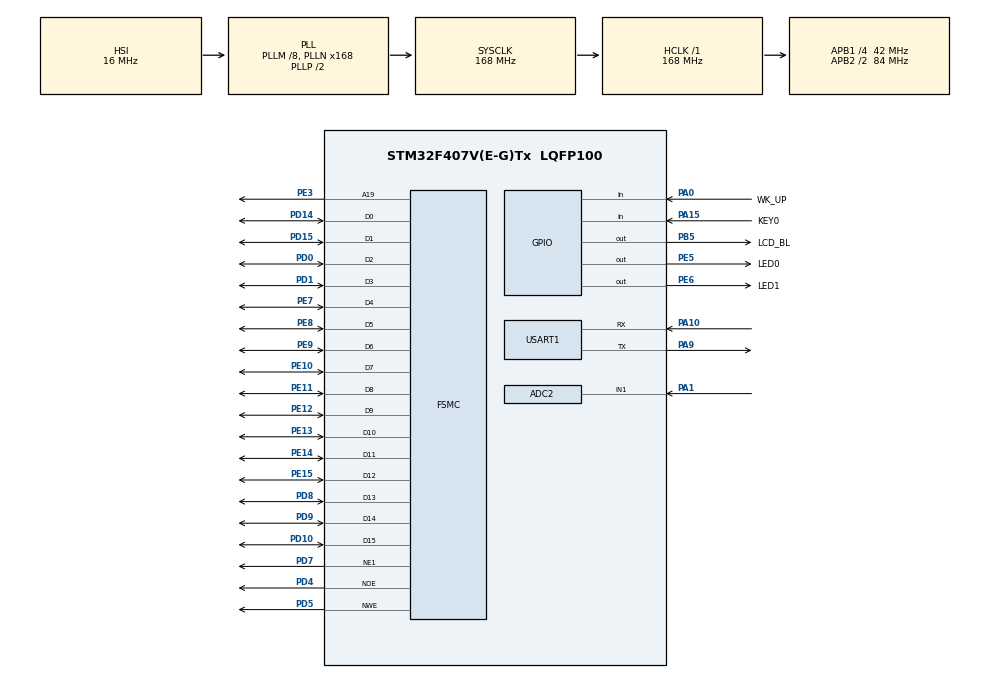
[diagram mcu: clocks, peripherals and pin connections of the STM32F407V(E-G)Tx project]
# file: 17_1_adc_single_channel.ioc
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ADC2.Channel-0\#ChannelRegularConversion=ADC_CHANNEL_1
ADC2.NbrOfConversionFlag=1
ADC2.Rank-0\#ChannelRegularConversion=1
ADC2.SamplingTime-0\#ChannelRegularConversion=ADC_SAMPLETIME_480CYCLES
FSMC.AddressSetupTime1=15
FSMC.BusTurnAroundDuration1=0
FSMC.DataSetupTime1=60
FSMC.ExtendedAddressSetupTime1=9
FSMC.ExtendedDataSetupTime1=9
FSMC.ExtendedMode1=FSMC_EXTENDED_MODE_ENABLE
Mcu.Family=STM32F4
Mcu.Name=STM32F407V(E-G)Tx
Mcu.Package=LQFP100
NVIC.PriorityGroup=NVIC_PRIORITYGROUP_2
NVIC.USART1_IRQn=true\:2\:2\:true\:false\:true\:true\:true\:true
PA0-WKUP.GPIO_Label=WK_UP
PA0-WKUP.GPIO_PuPd=GPIO_PULLDOWN
PA0-WKUP.Signal=GPIO_Input
PA1.Signal=ADCx_IN1
PA10.Mode=Asynchronous
PA10.Signal=USART1_RX
PA13.Mode=Serial_Wire
PA13.Signal=SYS_JTMS-SWDIO
PA14.Mode=Serial_Wire
PA14.Signal=SYS_JTCK-SWCLK
PA15.GPIO_Label=KEY0
PA15.GPIO_PuPd=GPIO_PULLDOWN
PA15.Signal=GPIO_Input
PA9.Mode=Asynchronous
PA9.Signal=USART1_TX
PB5.GPIO_Label=LCD_BL
PB5.GPIO_PuPd=GPIO_PULLUP
PB5.GPIO_Speed=GPIO_SPEED_FREQ_HIGH
PB5.PinState=GPIO_PIN_SET
PB5.Signal=GPIO_Output
PC14-OSC32_IN.Mode=LSE-External-Oscillator
PC14-OSC32_IN.Signal=RCC_OSC32_IN
PC15-OSC32_OUT.Mode=LSE-External-Oscillator
PC15-OSC32_OUT.Signal=RCC_OSC32_OUT
PD0.Mode=16b-d1
PD0.Signal=FSMC_D2
PD1.Mode=16b-d1
PD1.Signal=FSMC_D3
PD10.Mode=16b-d1
PD10.Signal=FSMC_D15
PD14.Mode=16b-d1
PD14.Signal=FSMC_D0
PD15.Mode=16b-d1
PD15.Signal=FSMC_D1
PD4.Mode=Lcd1
PD4.Signal=FSMC_NOE
PD5.Mode=Lcd1
PD5.Signal=FSMC_NWE
PD7.Mode=NorPsramChipSelect1_1
PD7.Signal=FSMC_NE1
PD8.Mode=16b-d1
PD8.Signal=FSMC_D13
PD9.Mode=16b-d1
PD9.Signal=FSMC_D14
PE10.Mode=16b-d1
PE10.Signal=FSMC_D7
PE11.Mode=16b-d1
PE11.Signal=FSMC_D8
PE12.Mode=16b-d1
PE12.Signal=FSMC_D9
PE13.Mode=16b-d1
PE13.Signal=FSMC_D10
PE14.Mode=16b-d1
PE14.Signal=FSMC_D11
PE15.Mode=16b-d1
PE15.Signal=FSMC_D12
PE3.Mode=A19_1
PE3.Signal=FSMC_A19
PE5.GPIO_Label=LED0
PE5.GPIO_PuPd=GPIO_PULLUP
PE5.GPIO_Speed=GPIO_SPEED_FREQ_HIGH
PE5.PinState=GPIO_PIN_SET
PE5.Signal=GPIO_Output
PE6.GPIO_Label=LED1
PE6.GPIO_PuPd=GPIO_PULLUP
PE6.GPIO_Speed=GPIO_SPEED_FREQ_HIGH
PE6.PinState=GPIO_PIN_SET
PE6.Signal=GPIO_Output
PE7.Mode=16b-d1
PE7.Signal=FSMC_D4
PE8.Mode=16b-d1
PE8.Signal=FSMC_D5
PE9.Mode=16b-d1
PE9.Signal=FSMC_D6
PH0-OSC_IN.Mode=HSE-External-Oscillator
PH0-OSC_IN.Signal=RCC_OSC_IN
PH1-OSC_OUT.Mode=HSE-External-Oscillator
PH1-OSC_OUT.Signal=RCC_OSC_OUT
ProjectManager.HeapSize=0x200
ProjectManager.StackSize=0x400
ProjectManager.TargetToolchain=STM32CubeIDE
RCC.48MHZClocksFreq_Value=84000000
RCC.AHBFreq_Value=168000000
RCC.APB1CLKDivider=RCC_HCLK_DIV4
RCC.APB1Freq_Value=42000000
RCC.APB1TimFreq_Value=84000000
RCC.APB2CLKDivider=RCC_HCLK_DIV2
RCC.APB2Freq_Value=84000000
RCC.APB2TimFreq_Value=168000000
RCC.CortexFreq_Value=168000000
RCC.HCLKFreq_Value=168000000
RCC.HSE_VALUE=25000000
RCC.HSI_VALUE=16000000
RCC.PLLM=8
RCC.PLLN=168
RCC.SYSCLKFreq_VALUE=168000000
RCC.SYSCLKSource=RCC_SYSCLKSOURCE_PLLCLK
RCC.VCOOutputFreq_Value=336000000
SH.ADCx_IN1.0=ADC2_IN1,IN1
USART1.VirtualMode=VM_ASYNC
board=custom

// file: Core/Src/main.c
/**
 ****************************************************************************************************
 * @file        main.c
 * @author      ALIENTEK
 * @brief       adc_single_channel code
 * @license     Copyright (C) 2012-2024, ALIENTEK
 ****************************************************************************************************
 * @attention
 *
 * platform     : ALIENTEK M100-STM32F407 board
 * website      : www.alientek.com
 * forum        : www.openedv.com/forum.php
 *
 * change logs  :
 * version      data         notes
 * V1.0         20240409     the first version
 *
 ****************************************************************************************************
 */

 /* USER CODE BEGIN Header */

/* USER CODE END Header */
#include "main.h"
#include "adc.h"
#include "usart.h"
#include "gpio.h"
#include "fsmc.h"

/* USER CODE BEGIN Includes */
#include "../../BSP/LED/led.h"
#include "../../BSP/KEY/key.h"
#include "../../BSP/LCD/lcd.h"
/* USER CODE END Includes */

/* USER CODE BEGIN PD */
/**
 * @brief   Displays information about the experiment
 * @param   None
 * @retval  None
 */
void stm32f407vg_show_mesg(void)
{
	/* The serial port outputs the experimental information */
	printf("\n");
	printf("********************************\r\n");
	printf("STM32F407\r\n");
	printf("ADC_Single_Channel Test\r\n");
	printf("ATOM@ALIENTEK\r\n");
	printf("********************************\r\n");
	printf("\r\n");
}
/* USER CODE END PD */

void SystemClock_Config(void);

int main(void)
{
  /* USER CODE BEGIN 1 */
  uint16_t adc_result;
  uint16_t voltage;
  /* USER CODE END 1 */

  /* MCU Configuration--------------------------------------------------------*/

  /* Reset of all peripherals, Initializes the Flash interface and the Systick. */
  HAL_Init();

  /* Configure the system clock */
  SystemClock_Config();

  /* Initialize all configured peripherals */
  MX_GPIO_Init();
  MX_USART1_UART_Init();
  MX_FSMC_Init();
  MX_ADC2_Init();
  /* USER CODE BEGIN 2 */
  lcd_init();                                         /* Initialize LCD */
  stm32f407vg_show_mesg();
  lcd_show_string(30, 50, 200, 16, 16, "STM32", RED);
  lcd_show_string(30, 70, 200, 16, 16, "ADC TEST", RED);
  lcd_show_string(30, 90, 200, 16, 16, "ATOM@ALIENTEK", RED);

  lcd_show_string(30, 110, 200, 16, 16, "ADC2_CH1_VAL:0", BLUE);
  lcd_show_string(30, 130, 200, 16, 16, "ADC2_CH1_VOL:0.000V", BLUE);
  /* USER CODE END 2 */

  /* Infinite loop */
  /* USER CODE BEGIN WHILE */
  while (1)
  {
	  adc_result = adc_get_result_average(10);     /* The ADC results are obtained by mean filtering */
	  lcd_show_xnum(134, 110, adc_result, 5, 16, 0, BLUE);

	  voltage = (adc_result * 3300) / 4095;                       /* Calculate the actual voltage value (1000 times larger) */
	  lcd_show_xnum(134, 130, voltage / 1000, 1, 16, 0, BLUE);
	  lcd_show_xnum(150, 130, voltage % 1000, 3, 16, 0x80, BLUE);

	  LED0_TOGGLE();             /* flashing LED0 indicates that the system is running */
	  HAL_Delay(1000);   		 /* delay 1000ms */
    /* USER CODE END WHILE */

  }
}

void SystemClock_Config(void)
{
  RCC_OscInitTypeDef RCC_OscInitStruct = {0};
  RCC_ClkInitTypeDef RCC_ClkInitStruct = {0};

  /** Configure the main internal regulator output voltage
  */
  __HAL_RCC_PWR_CLK_ENABLE();
  __HAL_PWR_VOLTAGESCALING_CONFIG(PWR_REGULATOR_VOLTAGE_SCALE1);

  /** Initializes the RCC Oscillators according to the specified parameters
  * in the RCC_OscInitTypeDef structure.
  */
  RCC_OscInitStruct.OscillatorType = RCC_OSCILLATORTYPE_HSI;
  RCC_OscInitStruct.HSIState = RCC_HSI_ON;
  RCC_OscInitStruct.HSICalibrationValue = RCC_HSICALIBRATION_DEFAULT;
  RCC_OscInitStruct.PLL.PLLState = RCC_PLL_ON;
  RCC_OscInitStruct.PLL.PLLSource = RCC_PLLSOURCE_HSI;
  RCC_OscInitStruct.PLL.PLLM = 8;
  RCC_OscInitStruct.PLL.PLLN = 168;
  RCC_OscInitStruct.PLL.PLLP = RCC_PLLP_DIV2;
  RCC_OscInitStruct.PLL.PLLQ = 4;
  if (HAL_RCC_OscConfig(&RCC_OscInitStruct) != HAL_OK)
  {
    Error_Handler();
  }

  /** Initializes the CPU, AHB and APB buses clocks
  */
  RCC_ClkInitStruct.ClockType = RCC_CLOCKTYPE_HCLK|RCC_CLOCKTYPE_SYSCLK
                              |RCC_CLOCKTYPE_PCLK1|RCC_CLOCKTYPE_PCLK2;
  RCC_ClkInitStruct.SYSCLKSource = RCC_SYSCLKSOURCE_PLLCLK;
  RCC_ClkInitStruct.AHBCLKDivider = RCC_SYSCLK_DIV1;
  RCC_ClkInitStruct.APB1CLKDivider = RCC_HCLK_DIV4;
  RCC_ClkInitStruct.APB2CLKDivider = RCC_HCLK_DIV2;

  if (HAL_RCC_ClockConfig(&RCC_ClkInitStruct, FLASH_LATENCY_5) != HAL_OK)
  {
    Error_Handler();
  }
}

void Error_Handler(void)
{
  __disable_irq();
  while (1)
  {
  }
}
